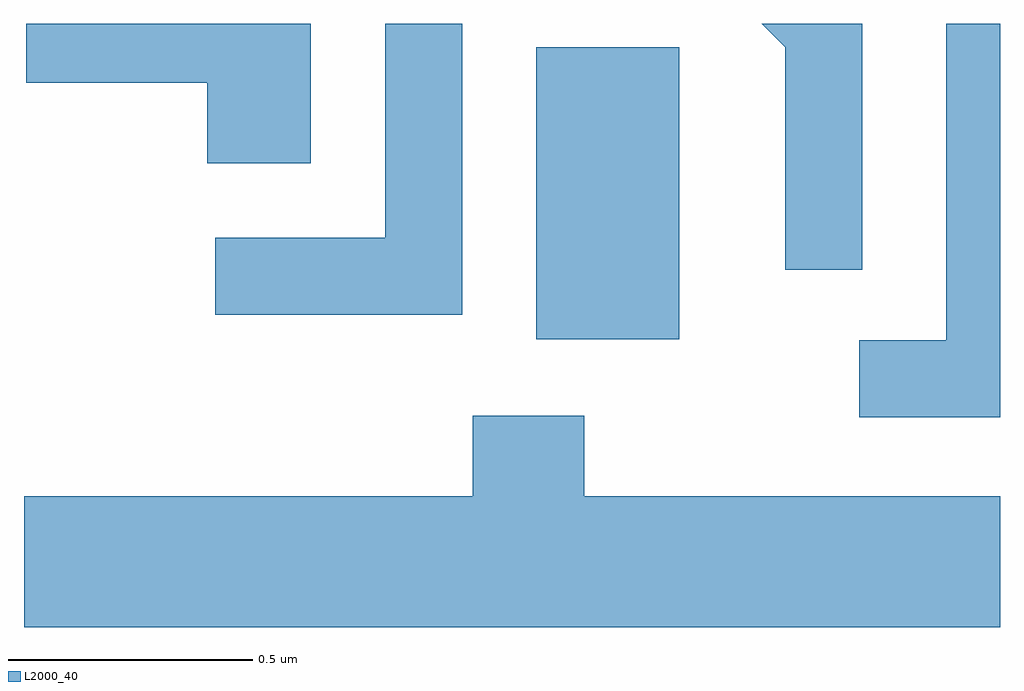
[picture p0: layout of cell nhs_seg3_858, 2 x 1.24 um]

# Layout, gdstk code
import gdstk
lib = gdstk.Library(unit=1e-6, precision=1e-09)
def R(c, l, rs):  # rectangles x0, y0, x1, y1
    for r in rs: c.add(gdstk.rectangle(r[:2], r[2:], *l))
def P(c, l, *ps):  # polygons
    for p in ps: c.add(gdstk.Polygon(p, *l))
L2000_40 = (2000, 40)

nhs_seg3_858 = lib.new_cell('nhs_seg3_858')
R(nhs_seg3_858, L2000_40, [(192.661,1153.246,192.954,1153.844)])
P(nhs_seg3_858, L2000_40, [(192.199,1153.892),(191.616,1153.892),(191.616,1153.771),(191.986,1153.771),(191.986,1153.606),(192.199,1153.606)],
  [(192.509,1153.892),(192.351,1153.892),(192.351,1153.454),(192.003,1153.454),(192.003,1153.296),(192.509,1153.296)],
  [(193.329,1153.892),(193.123,1153.892),(193.171,1153.844),(193.171,1153.388),(193.329,1153.388)],
  [(193.611,1153.892),(193.501,1153.892),(193.501,1153.244),(193.323,1153.244),(193.323,1153.086),(193.611,1153.086)],
  [(193.611,1152.924),(192.759,1152.924),(192.759,1153.089),(192.531,1153.089),(192.531,1152.924),(191.611,1152.924),(191.611,1152.656),(193.611,1152.656)])

lib.write_gds('nhs_seg3_858.gds')
